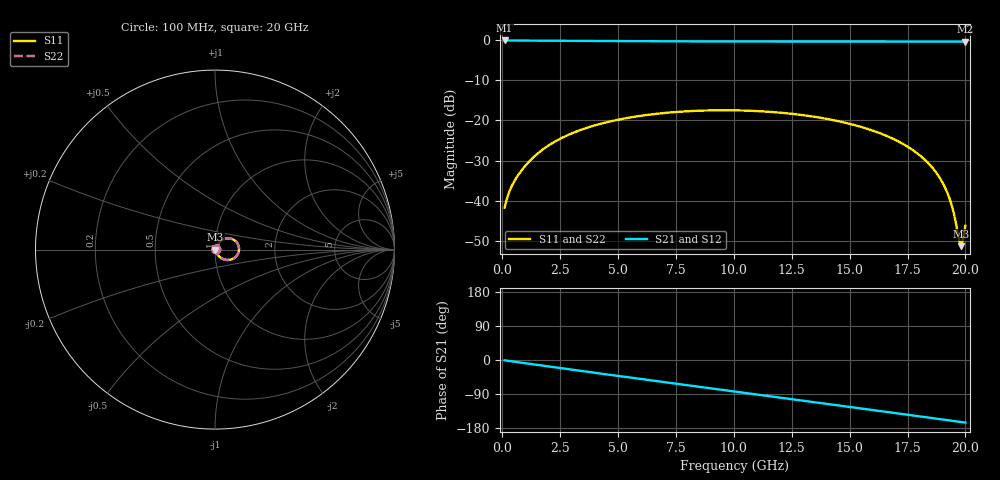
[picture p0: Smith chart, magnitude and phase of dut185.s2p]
! Touchstone file exported from HFSS 2026.1.0
!  File:  C:/ffzhzh/LocalFiles/Ansys_Project_Files/temp_train_TSV_RDL_185_1783057919_17544.aedt
!  Generated:  02:01:23 PM Jul  3, 2026
!  Design:  TSV_RDL
!  Project:  temp_train_TSV_RDL_185_1783057919_17544
! Variables:
!  h_bsmrdl = 4.33um
!  h_ox = 20um
!  h_rdl = 5um
!  h_sub = 99.23um
!  h_tmrdl = 4.06um
!  h_tsv = 99.23um
!  h_via = 3um
!  l_bsmrdl = 381.74um
!  l_sub = 2524.86um
!  l_tmrdl = 201.14um
!  m_sub = 200um
!  pitch = 40.75um
!  r_tsv = 11.77um
!  s_tmrdl = 10um
!  w_bsmrdl = 29.17um
!  w_sub = 500um
!  w_tmrdl = 29.19um
!  x_tsv_center1 = 215.735um
!  x_tsv_center2 = 626.645um
!  x_tsv_center3 = 856.975um
!  x_tsv_center4 = 1267.885um
!  x_tsv_center5 = 1498.215um
!  x_tsv_center6 = 1909.125um
# GHz S MA R 50.000000
! Terminal data exported
! Port[1] = TM_RDL1_1_T1
! Port[2] = TM_RDL5_1_T1
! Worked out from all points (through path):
!   200 points, 100 MHz to 20 GHz, reference 50 ohm
!   highest |S21| = -0.06 dB at 100 MHz (marker M1); lowest = -0.4 dB at 20 GHz (marker M2)
!   group delay of S21, straight-line fit = 22.8 ps
!   lowest |S11| = -51.3 dB at 19.8 GHz (marker M3), VSWR 1.01, Z = 50.3 + j0.0338 ohm
!   |S11| at or under -10 dB: start of sweep to end of sweep
!   |S22| runs from -52.3 to -17.5 dB; largest |S21 - S12| = 1.1e-13
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0.1  0.008186 25.3  0.9926 -0.9  0.9926 -0.9  0.008186 25.3
! Gamma 0 0 0 0
! Port Impedance 50 0 50 0
0.3  0.0129 43.2  0.991 -2.7  0.991 -2.7  0.0129 43.2
0.5  0.01708 49.7  0.9899 -4.4  0.9899 -4.4  0.01708 49.7
1.2  0.03166 58.3  0.988 -10.3  0.988 -10.3  0.03166 58.3
2.2  0.053 56.7  0.9852 -18.7  0.9852 -18.7  0.053 56.7
3.5  0.07827 48.7  0.9805 -29.6  0.9805 -29.6  0.07827 48.7
5  0.1021 37.6  0.975 -42.0  0.975 -42.0  0.1021 37.6
6.8  0.1222 23.8  0.9694 -56.8  0.9694 -56.8  0.1222 23.8
10.1  0.1336 -1.6  0.9631 -83.7  0.9631 -83.7  0.1336 -1.7
11.7  0.1271 -14.0  0.962 -96.8  0.962 -96.8  0.1271 -14.1
13.4  0.112 -27.2  0.9616 -110.7  0.9616 -110.7  0.1121 -27.3
15.2  0.08779 -41.1  0.9617 -125.5  0.9617 -125.5  0.08784 -41.2
16.7  0.0623 -52.3  0.9615 -137.8  0.9615 -137.8  0.06236 -52.6
18  0.03735 -61.1  0.9608 -148.6  0.9608 -148.6  0.0374 -61.5
18.5  0.02728 -63.6  0.9604 -152.7  0.9604 -152.7  0.02732 -64.2
18.9  0.01912 -64.3  0.96 -156.1  0.96 -156.1  0.01915 -65.2
19.2  0.01298 -62.9  0.9597 -158.5  0.9597 -158.5  0.01299 -64.1
19.4  0.008945 -58.9  0.9595 -160.2  0.9595 -160.2  0.008926 -60.8
19.6  0.005116 -46.2  0.9592 -161.9  0.9592 -161.9  0.005027 -49.4
19.8  0.002712 7.1  0.9589 -163.5  0.9589 -163.5  0.002426 5.2
19.9  0.003336 45.2  0.9588 -164.3  0.9588 -164.3  0.003063 47.4
20  0.004869 64.9  0.9586 -165.2  0.9586 -165.2  0.004656 67.4
